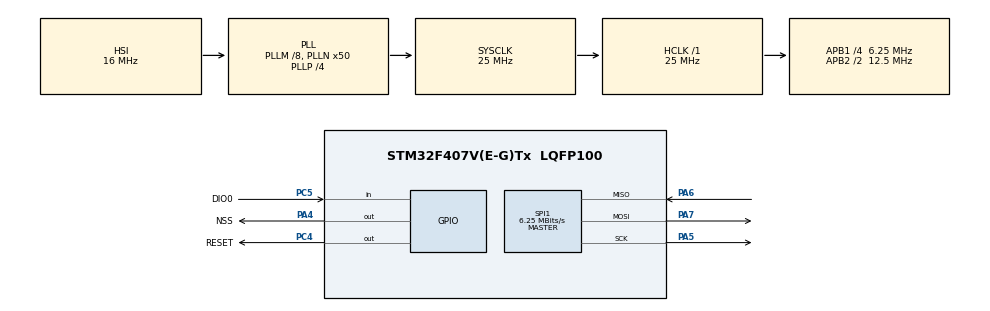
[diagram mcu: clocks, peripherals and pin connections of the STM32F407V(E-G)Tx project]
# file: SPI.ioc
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Dma.Request0=SPI1_RX
Dma.Request1=SPI1_TX
Dma.SPI1_RX.0.Direction=DMA_PERIPH_TO_MEMORY
Dma.SPI1_RX.0.FIFOMode=DMA_FIFOMODE_DISABLE
Dma.SPI1_RX.0.Instance=DMA2_Stream0
Dma.SPI1_RX.0.MemDataAlignment=DMA_MDATAALIGN_BYTE
Dma.SPI1_RX.0.MemInc=DMA_MINC_ENABLE
Dma.SPI1_RX.0.Mode=DMA_NORMAL
Dma.SPI1_RX.0.PeriphDataAlignment=DMA_PDATAALIGN_BYTE
Dma.SPI1_RX.0.PeriphInc=DMA_PINC_DISABLE
Dma.SPI1_RX.0.Priority=DMA_PRIORITY_LOW
Dma.SPI1_TX.1.Direction=DMA_MEMORY_TO_PERIPH
Dma.SPI1_TX.1.FIFOMode=DMA_FIFOMODE_DISABLE
Dma.SPI1_TX.1.Instance=DMA2_Stream3
Dma.SPI1_TX.1.MemDataAlignment=DMA_MDATAALIGN_BYTE
Dma.SPI1_TX.1.MemInc=DMA_MINC_ENABLE
Dma.SPI1_TX.1.Mode=DMA_NORMAL
Dma.SPI1_TX.1.PeriphDataAlignment=DMA_PDATAALIGN_BYTE
Dma.SPI1_TX.1.PeriphInc=DMA_PINC_DISABLE
Dma.SPI1_TX.1.Priority=DMA_PRIORITY_LOW
Mcu.Family=STM32F4
Mcu.Name=STM32F407V(E-G)Tx
Mcu.Package=LQFP100
NVIC.DMA2_Stream0_IRQn=true\:0\:0\:false\:false\:true\:false\:true\:true
NVIC.DMA2_Stream3_IRQn=true\:0\:0\:false\:false\:true\:false\:true\:true
NVIC.PriorityGroup=NVIC_PRIORITYGROUP_0
NVIC.SPI1_IRQn=true\:0\:0\:false\:false\:true\:true\:true\:true
PA4.GPIO_Label=NSS
PA4.Signal=GPIO_Output
PA5.Mode=Full_Duplex_Master
PA5.Signal=SPI1_SCK
PA6.Mode=Full_Duplex_Master
PA6.Signal=SPI1_MISO
PA7.Mode=Full_Duplex_Master
PA7.Signal=SPI1_MOSI
PC4.GPIO_Label=RESET
PC4.GPIO_PuPd=GPIO_PULLUP
PC4.Signal=GPIO_Output
PC5.GPIO_Label=DIO0
PC5.Signal=GPIO_Input
ProjectManager.HeapSize=0x200
ProjectManager.StackSize=0x400
ProjectManager.TargetToolchain=STM32CubeIDE
RCC.48MHZClocksFreq_Value=14285714.285714285
RCC.AHBFreq_Value=25000000
RCC.APB1CLKDivider=RCC_HCLK_DIV4
RCC.APB1Freq_Value=6250000
RCC.APB1TimFreq_Value=12500000
RCC.APB2CLKDivider=RCC_HCLK_DIV2
RCC.APB2Freq_Value=12500000
RCC.APB2TimFreq_Value=25000000
RCC.CortexFreq_Value=25000000
RCC.HCLKFreq_Value=25000000
RCC.HSE_VALUE=8000000
RCC.HSI_VALUE=16000000
RCC.LSE_VALUE=32768
RCC.PLLM=8
RCC.PLLN=50
RCC.PLLP=RCC_PLLP_DIV4
RCC.PLLQ=7
RCC.SYSCLKFreq_VALUE=25000000
RCC.SYSCLKSource=RCC_SYSCLKSOURCE_PLLCLK
RCC.VCOOutputFreq_Value=100000000
SPI1.CalculateBaudRate=6.25 MBits/s
SPI1.Direction=SPI_DIRECTION_2LINES
SPI1.Mode=SPI_MODE_MASTER
SPI1.VirtualType=VM_MASTER
board=STM32F407G-DISC1

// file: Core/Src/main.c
/* USER CODE BEGIN Header */
/**
  ******************************************************************************
  * @file           : main.c
  * @brief          : Main program body
  ******************************************************************************
  * @attention
  *
  * Copyright (c) 2022 STMicroelectronics.
  * All rights reserved.
  *
  * This software is licensed under terms that can be found in the LICENSE file
  * in the root directory of this software component.
  * If no LICENSE file comes with this software, it is provided AS-IS.
  *
  ******************************************************************************
  */
/* USER CODE END Header */
#include "main.h"
#include "dma.h"
#include "spi.h"
#include "gpio.h"

/* USER CODE BEGIN Includes */
#include "Lora.h"

/* USER CODE END Includes */

/* USER CODE BEGIN PTD */
typedef enum{
	Lora_Idle_en,
	Lora_Tx_en,
	Lora_TxtoRx_en,
	Lora_Rx_en,
	Lora_RxtoTx_en
}Lora_Mode_ten;

/* USER CODE END PTD */

/* USER CODE BEGIN PV */
/*
uint8_t Lora_status_u8 = 0 ;
uint8_t Lora_TxDoneHw_u8 = 0 ;
uint8_t Lora_TxDoneSw_u8 = 0 ;
uint8_t Lora_RxDoneHw_u8 = 0 ;
uint8_t Lora_RxDoneSw_u8 = 0 ;
*/
uint8_t Lora_payloadLength_u8 = 0;

uint8_t Lora_RxBuffer_au8[5] = {0.0} ;
uint8_t Lora_TxBuffer_au8[5]={0.0};

Lora_RxStates_ten Lora_RxCurrentState_en = Lora_RxIdle_en;
Lora_TxStates_ten Lora_TxCurrentState_en = Lora_TxIdle_en;
Lora_Mode_ten Lora_CurrentMode_en = Lora_Idle_en;

/* USER CODE END PV */

void SystemClock_Config(void);

int main(void)
{

  /* MCU Configuration--------------------------------------------------------*/

  /* Reset of all peripherals, Initializes the Flash interface and the Systick. */
  HAL_Init();

  /* Configure the system clock */
  SystemClock_Config();

  /* Initialize all configured peripherals */
  MX_GPIO_Init();
  MX_DMA_Init();
  MX_SPI1_Init();
  /* USER CODE BEGIN 2 */
  Lora_vInit();
  Lora_payloadLength_u8 = 2;
  /* USER CODE END 2 */

  /* Infinite loop */
  /* USER CODE BEGIN WHILE */

  Lora_TxBuffer_au8[0]=0x66;
  Lora_TxBuffer_au8[1]=0x01;
  Lora_RxBuffer_au8[0]=0;
  Lora_RxBuffer_au8[1]=0;
  Lora_vConfig();
  while (1)
  {
	  switch(Lora_CurrentMode_en){
	  case Lora_Idle_en :{
		  Lora_CurrentMode_en = Lora_RxtoTx_en;
	  }break;
	  case Lora_Tx_en:{
		  Lora_TxCurrentState_en = Lora_tenTxMode(Lora_TxBuffer_au8 , Lora_payloadLength_u8);
		  if (Lora_TxReady_en ==Lora_TxCurrentState_en ){
			  Lora_CurrentMode_en = Lora_TxtoRx_en ;
		  }
	  }break;
	  case Lora_TxtoRx_en:{
		  //HAL_Delay(1000);
		  Lora_RxBuffer_au8[0] = 0;
		  Lora_RxBuffer_au8[1] = 0;
		  Lora_RxCurrentState_en =Lora_RxConfig_en;
		  Lora_CurrentMode_en = Lora_Rx_en ;
	  }break;
	  case Lora_Rx_en:{
		  Lora_RxCurrentState_en = Lora_tenRxMode(Lora_RxBuffer_au8, Lora_payloadLength_u8);
		  if ( (Lora_RxReady_en ==Lora_RxCurrentState_en) /*||(Lora_RxTimeout_en ==Lora_RxCurrentState_en)*/ ){
			  Lora_CurrentMode_en = Lora_RxtoTx_en ;
		  }
	  }break;
	  case Lora_RxtoTx_en:{
		  HAL_Delay(1000);
		  Lora_TxBuffer_au8[1] =  Lora_RxBuffer_au8[1] +1;
		  Lora_TxCurrentState_en =Lora_TxConfig_en;
		  Lora_CurrentMode_en = Lora_Tx_en ;
		  }break;
	  }

    /* USER CODE END WHILE */

  }
}

void SystemClock_Config(void)
{
  RCC_OscInitTypeDef RCC_OscInitStruct = {0};
  RCC_ClkInitTypeDef RCC_ClkInitStruct = {0};

  /** Configure the main internal regulator output voltage
  */
  __HAL_RCC_PWR_CLK_ENABLE();
  __HAL_PWR_VOLTAGESCALING_CONFIG(PWR_REGULATOR_VOLTAGE_SCALE1);
  /** Initializes the RCC Oscillators according to the specified parameters
  * in the RCC_OscInitTypeDef structure.
  */
  RCC_OscInitStruct.OscillatorType = RCC_OSCILLATORTYPE_HSI;
  RCC_OscInitStruct.HSIState = RCC_HSI_ON;
  RCC_OscInitStruct.HSICalibrationValue = RCC_HSICALIBRATION_DEFAULT;
  RCC_OscInitStruct.PLL.PLLState = RCC_PLL_ON;
  RCC_OscInitStruct.PLL.PLLSource = RCC_PLLSOURCE_HSI;
  RCC_OscInitStruct.PLL.PLLM = 8;
  RCC_OscInitStruct.PLL.PLLN = 50;
  RCC_OscInitStruct.PLL.PLLP = RCC_PLLP_DIV4;
  RCC_OscInitStruct.PLL.PLLQ = 7;
  if (HAL_RCC_OscConfig(&RCC_OscInitStruct) != HAL_OK)
  {
    Error_Handler();
  }
  /** Initializes the CPU, AHB and APB buses clocks
  */
  RCC_ClkInitStruct.ClockType = RCC_CLOCKTYPE_HCLK|RCC_CLOCKTYPE_SYSCLK
                              |RCC_CLOCKTYPE_PCLK1|RCC_CLOCKTYPE_PCLK2;
  RCC_ClkInitStruct.SYSCLKSource = RCC_SYSCLKSOURCE_PLLCLK;
  RCC_ClkInitStruct.AHBCLKDivider = RCC_SYSCLK_DIV1;
  RCC_ClkInitStruct.APB1CLKDivider = RCC_HCLK_DIV4;
  RCC_ClkInitStruct.APB2CLKDivider = RCC_HCLK_DIV2;

  if (HAL_RCC_ClockConfig(&RCC_ClkInitStruct, FLASH_LATENCY_0) != HAL_OK)
  {
    Error_Handler();
  }
}

/* USER CODE BEGIN 4 */
void HAL_SPI_TxCpltCallback( SPI_HandleTypeDef *hspi )
{
	__HAL_DMA_DISABLE_IT ( &hdma_spi1_tx, DMA_IT_HT );
	Lora_Transmit_Complete = 1;
}

void HAL_SPI_RxCpltCallback( SPI_HandleTypeDef *hspi )
{
	__HAL_DMA_DISABLE_IT ( &hdma_spi1_rx, DMA_IT_HT );
	Lora_Receive_Complete = 1;
}
/* USER CODE END 4 */

void Error_Handler(void)
{
  __disable_irq();
  while (1)
  {
  }
}
